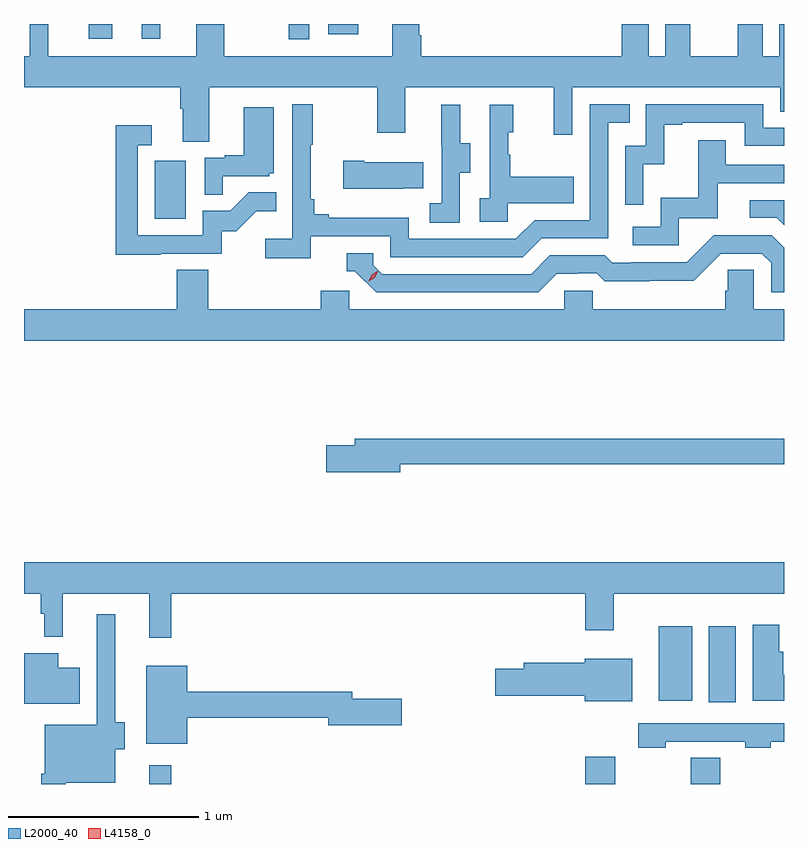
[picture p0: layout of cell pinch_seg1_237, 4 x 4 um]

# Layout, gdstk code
import gdstk
lib = gdstk.Library(unit=1e-6, precision=1e-09)
def R(c, l, rs):  # rectangles x0, y0, x1, y1
    for r in rs: c.add(gdstk.rectangle(r[:2], r[2:], *l))
def P(c, l, *ps):  # polygons
    for p in ps: c.add(gdstk.Polygon(p, *l))
L2000_40 = (2000, 40)
L4158_0 = (4158, 0)

pinch_seg1_237 = lib.new_cell('pinch_seg1_237')
R(pinch_seg1_237, L2000_40, [(912.764,562.718,912.881,562.816), (915.059,562.718,915.219,562.861), (915.616,562.718,915.77,562.856), (915.71,563.148,915.853,563.548), (915.446,563.156,915.622,563.548), (912.794,565.692,912.958,565.999), (913.5,566.637,913.608,566.718), (912.446,566.64,912.57,566.718), (912.725,566.64,912.824,566.718), (913.706,566.664,913.864,566.718)])
P(pinch_seg1_237, L2000_40, [(913.081,566.384),(913.966,566.384),(913.966,566.145),(914.113,566.145),(914.113,566.384),(914.894,566.384),(914.894,566.136),(914.991,566.136),(914.991,566.384),(916.086,566.384),(916.086,566.257),(916.106,566.257),(916.106,566.718),(916.082,566.718),(916.082,566.548),(915.994,566.548),(915.994,566.718),(915.863,566.718),(915.863,566.548),(915.613,566.548),(915.613,566.718),(915.482,566.718),(915.482,566.548),(915.394,566.548),(915.394,566.718),(915.251,566.718),(915.251,566.548),(914.198,566.548),(914.198,566.66),(914.185,566.66),(914.185,566.718),(914.045,566.718),(914.045,566.548),(913.161,566.548),(913.161,566.718),(913.013,566.718),(913.013,566.548),(912.233,566.548),(912.233,566.718),(912.135,566.718),(912.135,566.548),(912.106,566.548),(912.106,566.384),(912.929,566.384),(912.929,566.272),(912.941,566.272),(912.941,566.098),(913.081,566.098)],
  [(913.616,565.602),(914.034,565.602),(914.034,565.491),(914.731,565.491),(914.83,565.59),(915.18,565.59),(915.18,566.199),(915.293,566.199),(915.293,566.295),(915.084,566.295),(915.084,565.686),(914.793,565.686),(914.694,565.587),(914.13,565.587),(914.13,565.699),(913.711,565.699),(913.711,565.718),(913.634,565.718),(913.634,565.795),(913.615,565.795),(913.615,566.083),(913.627,566.083),(913.627,566.296),(913.518,566.296),(913.518,565.588),(913.377,565.588),(913.377,565.486),(913.616,565.486)],
  [(915.366,565.979),(915.476,565.979),(915.476,566.187),(915.571,566.187),(915.571,566.199),(915.9,566.199),(915.9,566.076),(916.106,566.076),(916.106,566.172),(915.996,566.172),(915.996,566.295),(915.378,566.295),(915.378,566.076),(915.27,566.076),(915.27,565.767),(915.366,565.767)],
  [(914.652,565.775),(914.999,565.775),(914.999,565.915),(914.665,565.915),(914.665,566.03),(914.655,566.03),(914.655,566.148),(914.68,566.148),(914.68,566.293),(914.556,566.293),(914.556,565.802),(914.505,565.802),(914.505,565.677),(914.652,565.677)],
  [(914.4,565.936),(914.455,565.936),(914.455,566.091),(914.401,566.091),(914.401,566.293),(914.303,566.293),(914.303,566.079),(914.304,566.079),(914.304,565.775),(914.241,565.775),(914.241,565.672),(914.4,565.672)],
  [(913.151,565.917),(913.398,565.917),(913.398,565.932),(913.42,565.932),(913.42,566.281),(913.262,566.281),(913.262,566.026),(913.163,566.026),(913.163,566.013),(913.056,566.013),(913.056,565.819),(913.151,565.819)],
  [(912.827,565.509),(913.146,565.509),(913.146,565.626),(913.222,565.626),(913.329,565.733),(913.433,565.733),(913.433,565.832),(913.289,565.832),(913.191,565.734),(913.047,565.734),(913.047,565.605),(912.705,565.605),(912.705,566.079),(912.778,566.079),(912.778,566.185),(912.589,566.185),(912.589,565.504),(912.827,565.504)],
  [(915.552,565.695),(915.757,565.695),(915.757,565.881),(916.106,565.881),(916.106,565.977),(915.799,565.977),(915.799,566.107),(915.655,566.107),(915.655,565.804),(915.456,565.804),(915.456,565.65),(915.309,565.65),(915.309,565.554),(915.552,565.554)],
  [(914.099,565.853),(914.207,565.853),(914.207,565.99),(913.897,565.99),(913.897,565.998),(913.785,565.998),(913.785,565.85),(914.099,565.85)],
  [(916.106,565.791),(915.927,565.791),(915.927,565.698),(916.068,565.698),(916.106,565.66)],
  [(914.911,565.404),(915.018,565.404),(915.018,565.407),(915.121,565.407),(915.163,565.365),(915.396,565.365),(915.396,565.367),(915.632,565.367),(915.774,565.509),(915.99,565.509),(916.038,565.461),(916.038,565.305),(916.106,565.305),(916.106,565.54),(916.041,565.605),(915.735,565.605),(915.594,565.464),(915.301,565.464),(915.301,565.461),(915.202,565.461),(915.163,565.5),(914.874,565.5),(914.775,565.401),(913.992,565.401),(913.944,565.449),(913.944,565.512),(913.805,565.512),(913.805,565.416),(913.848,565.416),(913.959,565.305),(914.812,565.305)],
  [(916.106,565.216),(915.948,565.216),(915.948,565.424),(915.811,565.424),(915.811,565.314),(915.797,565.314),(915.797,565.216),(915.099,565.216),(915.099,565.314),(914.949,565.314),(914.949,565.216),(913.818,565.216),(913.818,565.314),(913.667,565.314),(913.667,565.216),(913.076,565.216),(913.076,565.424),(912.911,565.424),(912.911,565.216),(912.106,565.216),(912.106,565.052),(916.106,565.052)],
  [(914.086,564.4),(916.106,564.4),(916.106,564.536),(913.847,564.536),(913.847,564.5),(913.698,564.5),(913.698,564.358),(914.086,564.358)],
  [(912.881,563.72),(915.059,563.72),(915.059,563.526),(915.211,563.526),(915.211,563.72),(916.106,563.72),(916.106,563.884),(912.106,563.884),(912.106,563.72),(912.193,563.72),(912.193,563.613),(912.213,563.613),(912.213,563.492),(912.311,563.492),(912.311,563.72),(912.764,563.72),(912.764,563.487),(912.881,563.487)],
  [(912.325,562.724),(912.586,562.724),(912.586,562.9),(912.637,562.9),(912.637,563.042),(912.586,563.042),(912.586,563.611),(912.489,563.611),(912.489,563.029),(912.216,563.029),(912.216,562.771),(912.196,562.771),(912.196,562.718),(912.325,562.718)],
  [(916.106,563.292),(916.102,563.292),(916.102,563.415),(916.081,563.415),(916.081,563.557),(915.941,563.557),(915.941,563.156),(916.106,563.156)],
  [(912.4,563.329),(912.286,563.329),(912.286,563.407),(912.106,563.407),(912.106,563.141),(912.4,563.141)],
  [(915.307,563.377),(915.056,563.377),(915.056,563.355),(914.735,563.355),(914.735,563.325),(914.586,563.325),(914.586,563.183),(915.056,563.183),(915.056,563.153),(915.307,563.153)],
  [(912.964,563.068),(913.706,563.068),(913.706,563.026),(914.095,563.026),(914.095,563.168),(913.834,563.168),(913.834,563.204),(912.964,563.204),(912.964,563.341),(912.749,563.341),(912.749,562.931),(912.964,562.931)],
  [(915.483,562.941),(915.903,562.941),(915.903,562.909),(916.035,562.909),(916.035,562.941),(916.106,562.941),(916.106,563.037),(915.339,563.037),(915.339,562.909),(915.483,562.909)])
P(pinch_seg1_237, L4158_0, [(913.92,565.364),(913.92,565.364),(913.936,565.397),(913.966,565.416),(913.967,565.416),(913.967,565.416),(913.951,565.383),(913.92,565.364)])

lib.write_gds('pinch_seg1_237.gds')
